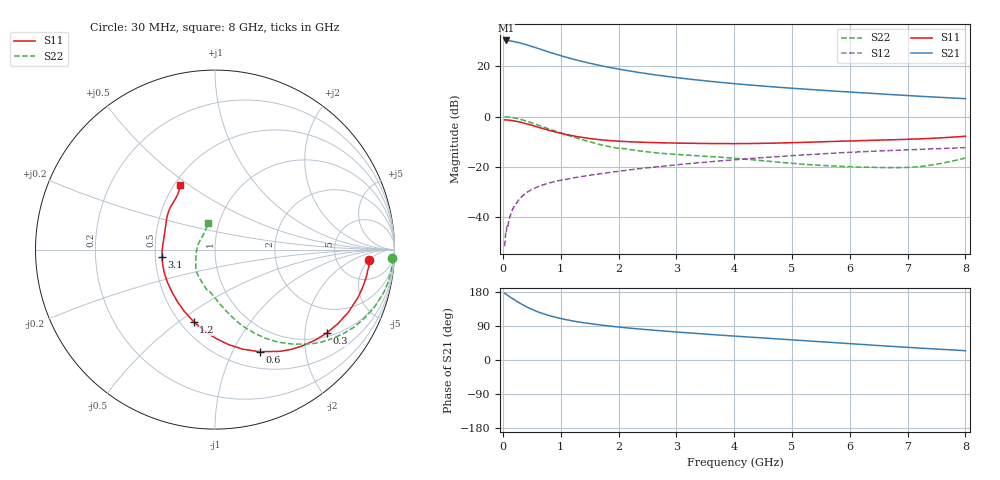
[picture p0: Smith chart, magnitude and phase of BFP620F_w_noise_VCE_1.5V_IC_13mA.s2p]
! Infineon Technologies  Discrete & RF Semiconductors
! BFP620F
! VCE =  1.5 V,  IC =  13 mA
! Common Emitter S-Parameters:  Dec 2014
# GHz  S  MA  R  50
!  f  S11  S21  S12  S22
! GHz  MAG  ANG  MAG  ANG  MAG  ANG  MAG  ANG
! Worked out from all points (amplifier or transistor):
!   95 points, 30 MHz to 8 GHz, reference 50 ohm
!   highest |S21| = 30.2 dB at 50 MHz (marker M1)
!   |S21| within 3 dB of that: start of sweep to 585.3 MHz
!   unconditionally stable (mu >= 1): 3.621 GHz to end of sweep
!   at 300 MHz: K = 0.20, MSG = 30.7 dB, |S12| = -32.3 dB
!   at 3.3 GHz: K = 0.98, MSG = 16.6 dB, |S12| = -18.5 dB
!   at 8 GHz: K = 1.08, MAG = 8.0 dB, |S12| = -12.3 dB
!   lowest NFmin = 0.66 dB at 450 MHz
!   S11 on the Smith chart (normalised r, x): 30 MHz: 11, -5; 300 MHz: 1.10, -2.59; 600 MHz: 0.69, -1.28; 1.2 GHz: 0.58, -0.57; 3.1 GHz: 0.54, -0.05; 8 GHz: 0.54, +0.46
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0.03  0.8621 -3.8  32.35 176.4  0.0027 95.6  0.9887 -2.8
0.05  0.862 -6.5  32.36 174.2  0.0053 81.3  0.9916 -5.0
0.09  0.8537 -11.6  32.13 169.9  0.007 82.6  0.9842 -9.0
0.15  0.838 -19.2  31.41 163.7  0.0133 79.2  0.9658 -15.2
0.25  0.7989 -31.2  29.75 153.9  0.0204 74.6  0.9163 -24.7
0.3  0.7769 -36.8  28.8 149.4  0.0243 72.4  0.8871 -29.2
0.4  0.7241 -47.8  26.81 141.0  0.0305 68.1  0.8191 -37.2
0.5  0.6728 -57.4  24.64 133.9  0.0358 64.8  0.7519 -44.3
0.6  0.6209 -66.4  22.62 127.4  0.0406 62.0  0.6848 -50.3
0.7  0.576 -74.4  20.74 122.0  0.0446 59.9  0.6244 -55.7
0.8  0.5351 -81.8  19.02 117.2  0.0483 57.8  0.5684 -60.3
0.9  0.4989 -88.5  17.5 113.1  0.0516 56.8  0.5188 -64.4
1  0.4691 -94.9  16.17 109.5  0.0547 55.8  0.4754 -68.0
1.2  0.4195 -106.4  13.94 103.3  0.0604 54.7  0.4009 -74.5
1.4  0.3839 -116.6  12.2 98.3  0.066 54.0  0.3417 -80.4
1.9  0.3315 -138.2  9.211 88.7  0.0797 53.1  0.2466 -94.3
2.7  0.3037 -163.1  6.58 77.5  0.1021 51.1  0.1896 -114.3
3.1  0.2977 -172.4  5.756 72.8  0.1133 49.7  0.1746 -121.8
4.1  0.2918 168.3  4.404 62.1  0.1421 45.6  0.1462 -136.6
5.4  0.3138 150.0  3.4 49.1  0.1796 38.5  0.1101 -163.7
6.7  0.3467 133.9  2.743 36.2  0.2126 30.0  0.0975 155.0
8  0.4083 118.3  2.269 24.5  0.2425 21.6  0.151 104.7
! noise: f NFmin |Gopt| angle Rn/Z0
0.45  0.66  0.19  8  0.2
0.9  0.73  0.17  18  0.18
1.5  0.78  0.17  20  0.13
1.8  0.81  0.15  23  0.11
1.9  0.82  0.11  37  0.13
2.4  0.86  0.1  53  0.12
3.5  0.95  0.09  78  0.12
5.5  1.11  0.11  197  0.09
6  1.15  0.1  226  0.13
